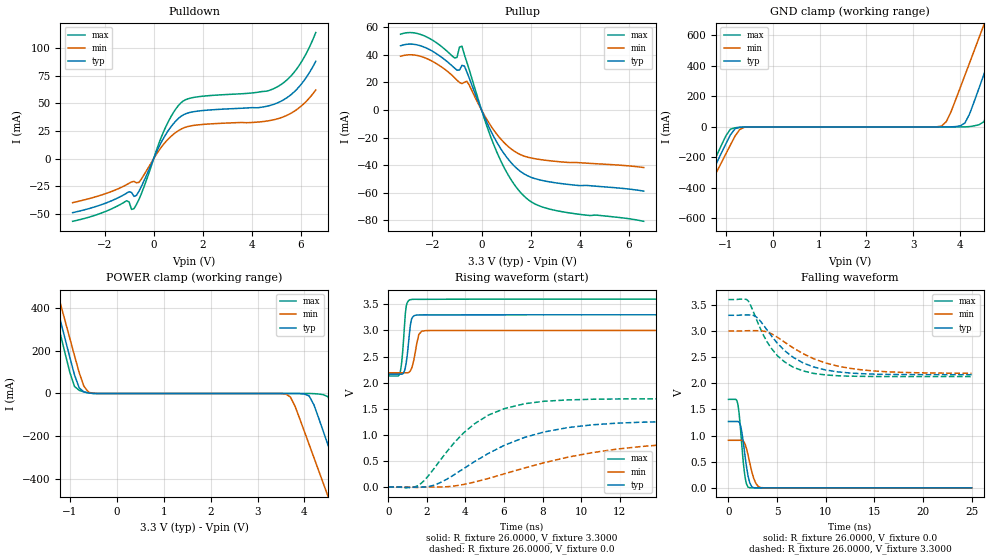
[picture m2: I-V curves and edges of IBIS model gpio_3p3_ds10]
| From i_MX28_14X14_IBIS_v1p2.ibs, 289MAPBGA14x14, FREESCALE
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|   Model gpio_3p3_ds10
| This model was characterised for following simulation conditions:
| Spice Models:
|  - Typ Condition
|   ..../backup/r63536/IBIS/GPIO_IBIS/io_dig_gpio_bs_ir_3p3_12mA/typ.model
|  - Min Condition
|   ..../backup/r63536/IBIS/GPIO_IBIS/io_dig_gpio_bs_ir_3p3_12mA/wcs.model
|  - Max Condition
|   ..../backup/r63536/IBIS/GPIO_IBIS/io_dig_gpio_bs_ir_3p3_12mA/bcs.model
[Model]  gpio_3p3_ds10
Model_type I/O
Polarity   Non-Inverting
Enable   Active-Low
Vinl =   0.8000V
Vinh =   2.0000V
Vmeas =  1.6500V
Cref =   0.0F
Rref =   26.0000
Vref =   1.6500V
C_comp   2.0125pF   1.8484pF   2.2049pF
[Temperature Range]   25.0000   0.1050k   -40.0000
[Voltage Range]   3.3000V   3.0000V   3.6000V
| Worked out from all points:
|   slope of the pulldown table from 0 to 0.495 V, typ, clamps not added: 22.5 ohm
|   slope of the pullup table from 0 to 0.495 V, typ, clamps not added: 25.8 ohm
|   GND clamp passes 1 mA (typ) near -0.62 V on its own axis
|   POWER clamp passes 1 mA (typ) near -0.53 V on its own axis
|   rising waveform, R_fixture 26.0000, V_fixture 3.3000: 20-80 % time 203ps typ, 259ps min, 178ps max; typ from 2.16 V to 3.3 V
|   rising waveform, R_fixture 26.0000, V_fixture 0.0: 20-80 % time 4.2ns typ, 6.45ns min, 2.75ns max; typ from 0 V to 1.27 V
|   falling waveform, R_fixture 26.0000, V_fixture 0.0: 20-80 % time 574ps typ, 714ps min, 483ps max; typ from 1.27 V to 0 V
|   falling waveform, R_fixture 26.0000, V_fixture 3.3000: 20-80 % time 3.9ns typ, 5.36ns min, 2.99ns max; typ from 3.3 V to 2.16 V
[Pulldown]
|Voltage   I(typ)   I(min)   I(max)
-3.3V     -48.7mA    -39.67mA   -56.49mA
-1.1V     -31.12mA   -23.4mA    -37.93mA
-1V       -29.76mA   -22.17mA   -39.06mA
-900mV    -30.45mA   -20.9mA    -45.78mA
-800mV    -34.08mA   -20.49mA   -45.06mA
-600mV    -29.38mA   -21.41mA   -36.88mA
400mV     18.42mA    12.9mA     24.18mA
1.1V      38.01mA    26.5mA     50.19mA
1.6V      42.29mA    29.93mA    55.18mA
5V        49.97mA    35.72mA    64.41mA
5.8V      62mA       43.91mA    80.25mA
6.6V      87.88mA    61.98mA    113.8mA
[Pullup]
|Voltage   I(typ)   I(min)   I(max)
-3.3V     46.6mA     39.01mA    54.95mA
-2.3V     45.32mA    37.79mA    53.51mA
-1.1V     30.42mA    23.43mA    37.72mA
-900mV    28.97mA    19.99mA    45.63mA
-800mV    32.39mA    19.18mA    46.25mA
-600mV    27.61mA    20.88mA    34.73mA
100mV     -4.308mA   -3.283mA   -5.577mA
600mV     -22.64mA   -17.05mA   -29.58mA
1.2V      -38.06mA   -28.1mA    -50.45mA
1.9V      -47.85mA   -34.25mA   -64.94mA
3.2V      -53.17mA   -37.48mA   -73.38mA
6.6V      -58.73mA   -41.63mA   -80.59mA
[GND_clamp]
|Voltage   I(typ)   I(min)   I(max)
-3.3V     -1.586A    -1.578A    -1.597A
-1.9V     -687.6mA   -724.2mA   -659.8mA
-1.7V     -559.7mA   -602.7mA   -526.1mA
-900mV    -52.23mA   -118.9mA   -14.88mA
-600mV    -643.9uA   -1.888mA   -689.4uA
3.6V      4.033uA    5.912mA    120.9pA
4.1V      26.14mA    339.7mA    221.8uA
4.4V      255.2mA    585.2mA    14.68mA
4.6V      427.7mA    750mA      99.17mA
4.9V      688.3mA    998.8mA    368.1mA
5.2V      951.2mA    1.25A      641.7mA
6.6V      2.221A     2.454A     1.965A
[POWER_clamp]
|Voltage   I(typ)   I(min)   I(max)
-3.3V     2.221A     2.191A     2.262A
-1.4V     514.3mA    585.2mA    459mA
-1.2V     341.3mA    421.4mA    277.5mA
-900mV    86.48mA    177.1mA    33.14mA
-700mV    7.36mA     34.01mA    7.302mA
3.6V      -3.447uA   -1.888mA   -318.6pA
3.8V      -92.08uA   -60.05mA   -2.661uA
4.1V      -11.61mA   -239.4mA   -74.75uA
4.5V      -240.5mA   -481.3mA   -14.88mA
4.9V      -495.7mA   -724.2mA   -259.1mA
5.2V      -687.6mA   -906.7mA   -459.3mA
6.6V      -1.586A    -1.761A    -1.396A
[Ramp]
| variable   typ   min   max
dV/dt_r  0.7613/4.2022n   0.5423/6.4510n   1.0151/2.7179n
dV/dt_f  0.6822/3.9022n   0.4856/5.3476n   0.8834/2.9840n
R_load = 26.0000
[Rising Waveform]
R_fixture= 26.0000
V_fixture= 3.3000
V_fixture_min= 3.0000
V_fixture_max= 3.6000
|time   V(typ)   V(min)   V(max)
0s        2.163V     2.188V     2.128V
601.5ps   2.162V     2.188V     2.183V
725.7ps   2.165V     2.188V     2.521V
882.4ps   2.29V      2.188V     3.33V
928.5ps   2.385V     2.187V     3.468V
1.146ns   3.112V     2.229V     3.59V
1.263ns   3.259V     2.341V     3.596V
1.582ns   3.297V     2.925V     3.596V
1.952ns   3.298V     2.997V     3.596V
25ns      3.3V       3V         3.6V
[Rising Waveform]
R_fixture= 26.0000
V_fixture= 0.0
V_fixture_min= 0.0
V_fixture_max= 0.0
|time   V(typ)   V(min)   V(max)
0s        2.432nV    11.44nV    3.036nV
1.567ns   -900.6uV   -9.87mV    34.09mV
2.684ns   82.92mV    714uV      509mV
3.431ns   239.4mV    19.91mV    854.9mV
4.484ns   489.4mV    95.98mV    1.215V
6.04ns    803.4mV    255.3mV    1.505V
7.08ns    952.2mV    366mV      1.596V
9.33ns    1.14V      573.5mV    1.669V
13.08ns   1.241V     774.8mV    1.69V
25ns      1.269V     903.8mV    1.692V
[Falling Waveform]
R_fixture= 26.0000
V_fixture= 0.0
V_fixture_min= 0.0
V_fixture_max= 0.0
|time   V(typ)   V(min)   V(max)
0s        1.269V     909.6mV    1.692V
770ps     1.269V     909.6mV    1.69V
964.3ps   1.269V     909.6mV    1.603V
1.273ns   1.17V      909.6mV    1.051V
1.627ns   724.3mV    869.2mV    318.2mV
1.865ns   392.9mV    743.6mV    69.34mV
2.018ns   226.1mV    624.6mV    13.39mV
2.601ns   2.225mV    180.7mV    1.53mV
3.318ns   1.222mV    4.974mV    858.4uV
25ns      485.3nV    -7.554uV   50.46nV
[Falling Waveform]
R_fixture= 26.0000
V_fixture= 3.3000
V_fixture_min= 3.0000
V_fixture_max= 3.6000
|time   V(typ)   V(min)   V(max)
0s        3.3V       3V         3.6V
2.042ns   3.307V     3.005V     3.573V
3.052ns   3.238V     3.005V     3.144V
3.641ns   3.103V     2.996V     2.904V
4.456ns   2.896V     2.944V     2.657V
5.772ns   2.624V     2.787V     2.409V
7.678ns   2.389V     2.566V     2.236V
9.983ns   2.254V     2.388V     2.159V
13.73ns   2.183V     2.256V     2.132V
25ns      2.163V     2.191V     2.128V
